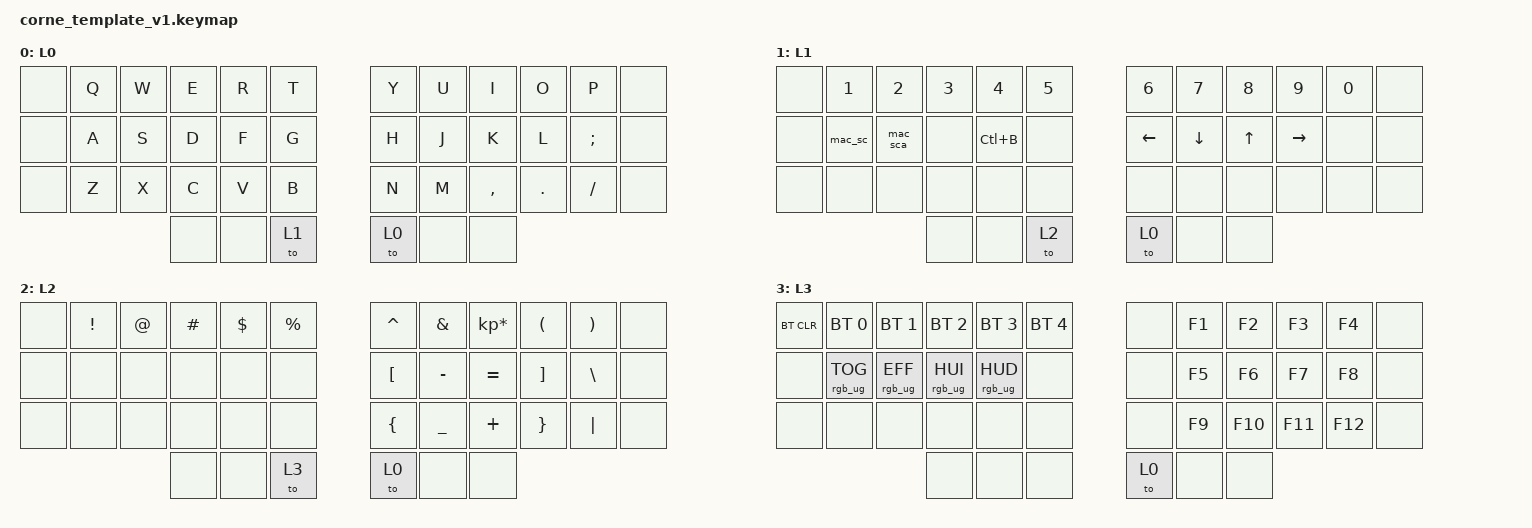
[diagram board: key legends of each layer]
/*
 * Copyright (c) 2020 The ZMK Contributors
 * SPDX-License-Identifier: MIT
 *
 * Corne Template v1
 *
 * [cc] Snapshot of the in-progress v20 design (forked from prod v19), saved as
 * a template so the design can be kept/reused independently of the prod
 * versioning. Not built by CI (CI only builds config/corne.keymap).
 * Notation (LP/RP/LT/RT, L0–L3): see corne_template_v1_notation.md.
 *
 * Design rules:
 *  - Four layers only: L0 Default, L1 Lower, L2 Raise, L3 Func.
 *  - No transparent keys: every unused key is &none.
 *  - LP1–3, RP1–3, LT1, LT2, RT1, RT2 are &none on every layer
 *    (exception: LP1 on L3 = BT_CLR).
 *  - LT3 = persistent layer cycle L0 → L1 → L2 → L3 (stops at L3).
 *  - RT3 = reset to L0 on every layer.
 *
 * Known gaps (open items): no Space, Backspace, Enter, ESC, TAB, modifiers,
 * quote/backtick/tilde, or media keys yet.
 */

#include <behaviors.dtsi>
#include <dt-bindings/zmk/keys.h>
#include <dt-bindings/zmk/bt.h>
#include <dt-bindings/zmk/rgb.h>

// ============================================================
// Hardware
// ============================================================

&led_strip {
    chain-length = <27>;
};

// ============================================================
// Layer indices
// ============================================================

#define L0 0
#define L1 1
#define L2 2
#define L3 3

// ============================================================
// Macros
// ============================================================

/ {
    macros {

        // macOS screenshot to clipboard (Cmd+Ctrl+Shift+4)
        mac_sc: macos_screenshot {
            compatible = "zmk,behavior-macro";
            #binding-cells = <0>;
            bindings
                = <&macro_press   &kp LGUI>
                , <&macro_press   &kp LCTRL>
                , <&macro_press   &kp LSHFT>
                , <&macro_tap     &kp N4>
                , <&macro_release &kp LSHFT>
                , <&macro_release &kp LCTRL>
                , <&macro_release &kp LGUI>
                ;
        };

        // macOS screenshot with annotation (Cmd+Shift+4)
        mac_sca: macos_screenshot_with_annotation {
            compatible = "zmk,behavior-macro";
            #binding-cells = <0>;
            bindings
                = <&macro_press   &kp LGUI>
                , <&macro_press   &kp LSHFT>
                , <&macro_tap     &kp N4>
                , <&macro_release &kp LSHFT>
                , <&macro_release &kp LGUI>
                ;
        };
    };
};

// ============================================================
// Keymap
// ============================================================

/ {
    keymap {
        compatible = "zmk,keymap";

        // ----------------------------------------------------
        // L0 — Default (QWERTY)
        // ----------------------------------------------------
        default_layer {
            display-name = "L0";
            bindings = <
   &none  &kp Q  &kp W  &kp E  &kp R  &kp T      &kp Y  &kp U  &kp I      &kp O    &kp P     &none
   &none  &kp A  &kp S  &kp D  &kp F  &kp G      &kp H  &kp J  &kp K      &kp L    &kp SEMI  &none
   &none  &kp Z  &kp X  &kp C  &kp V  &kp B      &kp N  &kp M  &kp COMMA  &kp DOT  &kp FSLH  &none
                        &none  &none  &to L1     &to L0 &none  &none
            >;
        };

        // ----------------------------------------------------
        // L1 — Lower: numbers, screenshots, Ctrl+B, arrows
        // ----------------------------------------------------
        lower_layer {
            display-name = "L1";
            bindings = <
   &none  &kp N1   &kp N2    &kp N3  &kp N4     &kp N5     &kp N6    &kp N7    &kp N8  &kp N9     &kp N0  &none
   &none  &mac_sc  &mac_sca  &none   &kp LC(B)  &none      &kp LEFT  &kp DOWN  &kp UP  &kp RIGHT  &none   &none
   &none  &none    &none     &none   &none      &none      &none     &none     &none   &none      &none   &none
                             &none   &none      &to L2     &to L0    &none     &none
            >;
        };

        // ----------------------------------------------------
        // L2 — Raise: symbols
        // ----------------------------------------------------
        raise_layer {
            display-name = "L2";
            bindings = <
   &none  &kp EXCL  &kp AT  &kp HASH  &kp DLLR  &kp PRCNT    &kp CARET  &kp AMPS   &kp KP_MULTIPLY  &kp LPAR  &kp RPAR  &none
   &none  &none     &none   &none     &none     &none        &kp LBKT   &kp MINUS  &kp EQUAL        &kp RBKT  &kp BSLH  &none
   &none  &none     &none   &none     &none     &none        &kp LBRC   &kp UNDER  &kp PLUS         &kp RBRC  &kp PIPE  &none
                            &none     &none     &to L3       &to L0     &none      &none
            >;
        };

        // ----------------------------------------------------
        // L3 — Func: Bluetooth, RGB underglow, F1–F12
        // LT3 is &none here: the cycle stops at L3; only RT3 leaves.
        // ----------------------------------------------------
        func_layer {
            display-name = "L3";
            bindings = <
   &bt BT_CLR  &bt BT_SEL 0     &bt BT_SEL 1     &bt BT_SEL 2     &bt BT_SEL 3     &bt BT_SEL 4    &none  &kp F1  &kp F2   &kp F3   &kp F4   &none
   &none       &rgb_ug RGB_TOG  &rgb_ug RGB_EFF  &rgb_ug RGB_HUI  &rgb_ug RGB_HUD  &none           &none  &kp F5  &kp F6   &kp F7   &kp F8   &none
   &none       &none            &none            &none            &none            &none           &none  &kp F9  &kp F10  &kp F11  &kp F12  &none
                                                 &none            &none            &none           &to L0 &none   &none
            >;
        };
    };
};
